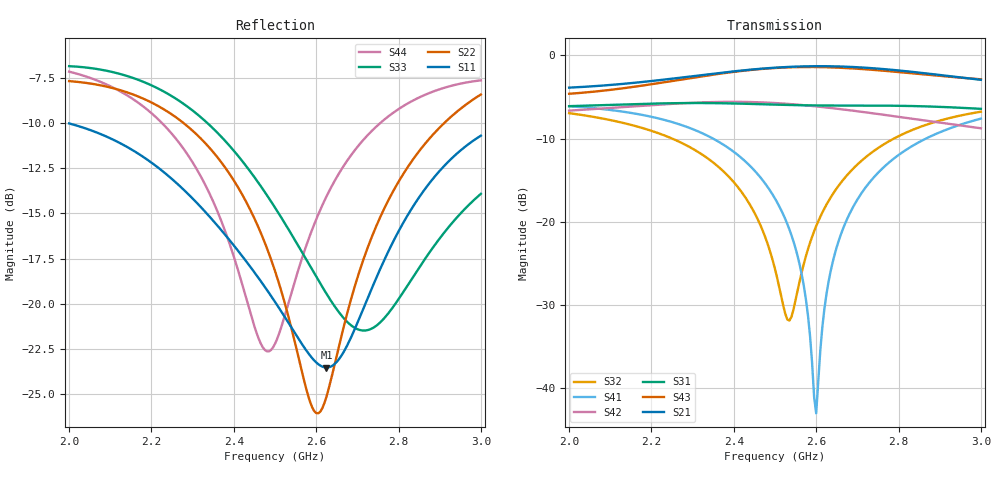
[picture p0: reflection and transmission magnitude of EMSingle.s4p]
! Created Mon Sep 11 23:41:02 2023
# hz S ma R 50
! 4 Port Network Data from SP1.SP block
! freq  magS11  angS11  magS12  angS12  magS13  angS13  magS14  angS14
!  magS21  angS21  magS22  angS22  magS23  angS23  magS24  angS24
!  magS31  angS31  magS32  angS32  magS33  angS33  magS34  angS34
!  magS41  angS41  magS42  angS42  magS43  angS43  magS44  angS44
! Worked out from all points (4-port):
!   201 points, 2 GHz to 3 GHz, reference 50 ohm
!   strongest paths, dB at 2 GHz, 2.25 GHz, 2.5 GHz, 2.75 GHz, 3 GHz:
!     S21: -3.9, -2.8, -1.5, -1.6, -2.9
!     S43: -4.6, -3.1, -1.5, -1.8, -2.9
!     S31: -6.1, -5.8, -5.9, -6.0, -6.4
!     S42: -6.6, -5.8, -5.7, -7.0, -8.8
!     S41: -6.1, -8.0, -17.2, -14.1, -7.6
!     S32: -6.9, -10.0, -25.7, -11.1, -6.8
!   lowest |S11| = -23.5 dB at 2.625 GHz (marker M1), VSWR 1.14, Z = 45.1 + j4.08 ohm
!   |S11| at or under -10 dB: start of sweep to end of sweep
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2e9  0.315 111.9  0.6391 93.6  0.4948 51.3  0.4942 -121.7
     0.6391 93.6  0.4123 102.4  0.4493 -131.0  0.4651 54.8
     0.4948 51.3  0.4493 -131.0  0.4534 125.8  0.5872 161.7
     0.4942 -121.7  0.4651 54.8  0.5872 161.7  0.4378 137.5
2.375e9  0.157 91.5  0.7878 40.4  0.515 -9.3  0.2903 179.2
         0.7878 40.4  0.2413 62.4  0.2008 167.7  0.525 -8.2
         0.515 -9.3  0.2008 167.7  0.285 84.2  0.7803 120.9
         0.2903 179.2  0.525 -8.2  0.7803 120.9  0.1632 66.9
2.535e9  0.08777 105.4  0.8516 11.2  0.5028 -35.3  0.09003 144.8
         0.8516 11.2  0.09003 61.3  0.02555 49.6  0.51 -39.1
         0.5028 -35.3  0.02555 49.6  0.159 79.7  0.8461 95.5
         0.09003 144.8  0.51 -39.1  0.8461 95.5  0.1025 -68.8
2.6e9  0.06888 125.7  0.8597 -1.5  0.4996 -45.5  0.007096 34.7
       0.8597 -1.5  0.04989 104.5  0.09427 -33.6  0.4932 -51.4
       0.4996 -45.5  0.09427 -33.6  0.1189 86.5  0.8495 84.8
       0.007096 34.7  0.4932 -51.4  0.8495 84.8  0.171 -100.7
2.625e9  0.06665 137.6  0.8594 -6.4  0.499 -49.4  0.03685 -37.7
         0.8594 -6.4  0.05538 131.0  0.1269 -42.7  0.4857 -56.0
         0.499 -49.4  0.1269 -42.7  0.1066 91.3  0.8471 80.7
         0.03685 -37.7  0.4857 -56.0  0.8471 80.7  0.1979 -108.6
2.74e9  0.1137 176.5  0.835 -28.5  0.4986 -68.0  0.1851 -67.9
        0.835 -28.5  0.1579 160.3  0.2664 -71.4  0.4476 -76.2
        0.4986 -68.0  0.2664 -71.4  0.08604 129.9  0.8165 63.0
        0.1851 -67.9  0.4476 -76.2  0.8165 63.0  0.3041 -134.4
3e9  0.2914 158.4  0.7121 -72.3  0.4768 -112.2  0.4165 -110.2
     0.7121 -72.3  0.3786 135.1  0.4582 -117.4  0.3646 -116.4
     0.4768 -112.2  0.4582 -117.4  0.2013 156.7  0.7172 30.2
     0.4165 -110.2  0.3646 -116.4  0.7172 30.2  0.4143 -170.7
